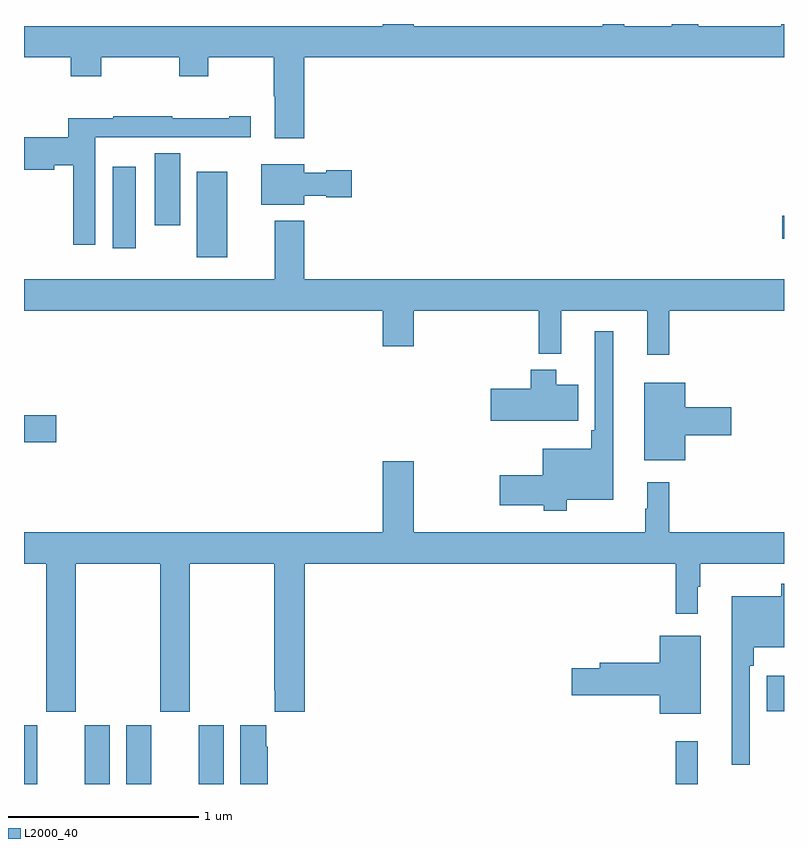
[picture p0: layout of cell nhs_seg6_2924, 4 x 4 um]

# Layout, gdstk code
import gdstk
lib = gdstk.Library(unit=1e-6, precision=1e-09)
def R(c, l, rs):  # rectangles x0, y0, x1, y1
    for r in rs: c.add(gdstk.rectangle(r[:2], r[2:], *l))
def P(c, l, *ps):  # polygons
    for p in ps: c.add(gdstk.Polygon(p, *l))
L2000_40 = (2000, 40)

nhs_seg6_2924 = lib.new_cell('nhs_seg6_2924')
R(nhs_seg6_2924, L2000_40, [(283,955.5,283.069,955.81), (283.319,955.5,283.45,955.81), (283.538,955.5,283.669,955.81), (283.919,955.5,284.05,955.81), (286.429,955.5,286.547,955.726), (286.91,955.883,287,956.071), (283,957.298,283.171,957.44), (283.91,958.272,284.071,958.723), (283.466,958.32,283.588,958.75), (286.992,958.37,287,958.492), (283.688,958.44,283.822,958.82)])
P(nhs_seg6_2924, L2000_40, [(284.474,959.324),(287,959.324),(287,959.5),(286.985,959.5),(286.985,959.488),(286.549,959.488),(286.549,959.5),(286.409,959.5),(286.409,959.488),(286.158,959.488),(286.158,959.5),(286.047,959.5),(286.047,959.488),(285.052,959.488),(285.052,959.5),(284.888,959.5),(284.888,959.488),(283,959.488),(283,959.324),(283.247,959.324),(283.247,959.225),(283.407,959.225),(283.407,959.324),(283.816,959.324),(283.816,959.225),(283.971,959.225),(283.971,959.324),(284.314,959.324),(284.314,959.12),(284.321,959.12),(284.321,958.899),(284.474,958.899)],
  [(283.374,958.904),(283.584,958.904),(283.584,958.905),(283.918,958.905),(283.918,958.904),(284.194,958.904),(284.194,959.014),(284.081,959.014),(284.081,959.004),(283.781,959.004),(283.781,959.014),(283.471,959.014),(283.471,959.004),(283.232,959.004),(283.232,958.905),(283,958.905),(283,958.733),(283.158,958.733),(283.158,958.757),(283.258,958.757),(283.258,958.338),(283.374,958.338)],
  [(284.476,958.595),(284.592,958.595),(284.592,958.588),(284.725,958.588),(284.725,958.73),(284.592,958.73),(284.592,958.717),(284.476,958.717),(284.476,958.762),(284.249,958.762),(284.249,958.55),(284.476,958.55)],
  [(284.474,958.465),(284.321,958.465),(284.321,958.156),(283,958.156),(283,957.992),(284.888,957.992),(284.888,957.804),(285.052,957.804),(285.052,957.992),(285.709,957.992),(285.709,957.764),(285.827,957.764),(285.827,957.992),(286.28,957.992),(286.28,957.759),(286.397,957.759),(286.397,957.992),(287,957.992),(287,958.156),(284.474,958.156)],
  [(285.856,956.996),(286.102,956.996),(286.102,957.883),(286.005,957.883),(286.005,957.361),(285.985,957.361),(285.985,957.265),(285.731,957.265),(285.731,957.124),(285.504,957.124),(285.504,956.966),(285.735,956.966),(285.735,956.939),(285.856,956.939)],
  [(285.916,957.601),(285.802,957.601),(285.802,957.679),(285.668,957.679),(285.668,957.579),(285.456,957.579),(285.456,957.413),(285.916,957.413)],
  [(286.48,957.335),(286.723,957.335),(286.723,957.482),(286.48,957.482),(286.48,957.613),(286.265,957.613),(286.265,957.203),(286.48,957.203)],
  [(283.272,956.66),(283.717,956.66),(283.717,955.881),(283.872,955.881),(283.872,956.66),(284.317,956.66),(284.317,955.993),(284.321,955.993),(284.321,955.881),(284.477,955.881),(284.477,956.66),(286.429,956.66),(286.429,956.397),(286.546,956.397),(286.546,956.537),(286.558,956.537),(286.558,956.66),(287,956.66),(287,956.824),(286.397,956.824),(286.397,957.088),(286.28,957.088),(286.28,956.948),(286.269,956.948),(286.269,956.824),(285.052,956.824),(285.052,957.199),(284.888,957.199),(284.888,956.824),(283,956.824),(283,956.66),(283.117,956.66),(283.117,955.881),(283.272,955.881)],
  [(286.821,956.123),(286.841,956.123),(286.841,956.219),(287,956.219),(287,956.554),(286.986,956.554),(286.986,956.488),(286.724,956.488),(286.724,955.602),(286.821,955.602)],
  [(286.561,956.281),(286.346,956.281),(286.346,956.138),(286.031,956.138),(286.031,956.108),(285.882,956.108),(285.882,955.966),(286.346,955.966),(286.346,955.871),(286.561,955.871)],
  [(284.282,955.697),(284.275,955.697),(284.275,955.81),(284.138,955.81),(284.138,955.5),(284.282,955.5)])

lib.write_gds('nhs_seg6_2924.gds')
